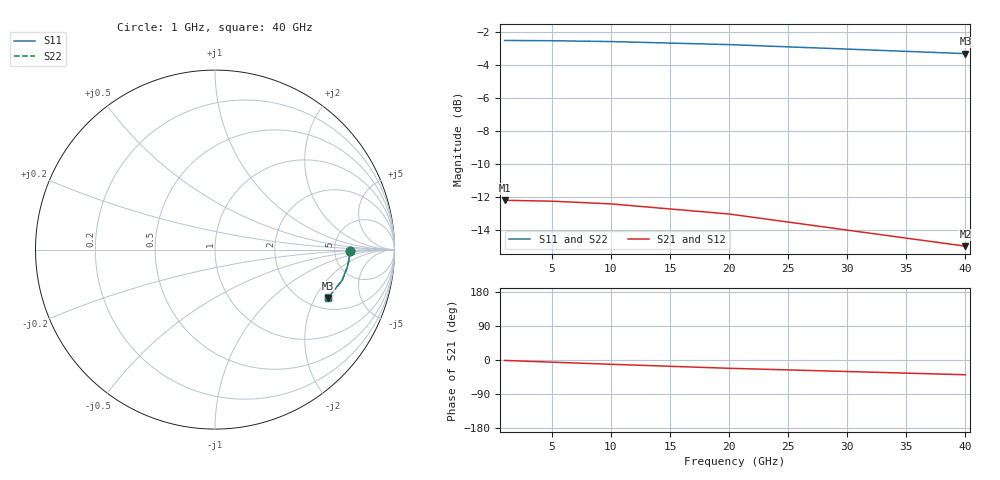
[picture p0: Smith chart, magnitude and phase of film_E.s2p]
! EM-TFR film section of run E: e_dut.s2p de-embedded by half of e_thru.s2p (README)
# GHz S RI R 50
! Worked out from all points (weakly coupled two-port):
!   5 points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, 1 GHz to 40 GHz, reference 50 ohm
!   highest |S21| = -12.21 dB at 1 GHz (marker M1); lowest = -15.0 dB at 40 GHz (marker M2)
!   lowest |S11| = -3.3 dB at 40 GHz (marker M3), VSWR 5.33, Z = 127 - j128 ohm
!   |S11| at or under -10 dB: nowhere
!   |S22| runs from -3.3 to -2.5 dB; largest |S21 - S12| = 7.4e-05
1  0.7501 -0.00954  0.2452 -0.00484  0.2451 -0.00484  0.7506 -0.00956
5  0.7473 -0.0472  0.2425 -0.0241  0.2424 -0.0241  0.7478 -0.0472
10  0.7387 -0.0924  0.2345 -0.0468  0.2344 -0.0468  0.7393 -0.0924
20  0.7085 -0.1709  0.2067 -0.083  0.2067 -0.083  0.7092 -0.1707
40  0.6292 -0.2688  0.1385 -0.1117  0.1384 -0.1117  0.6315 -0.266
